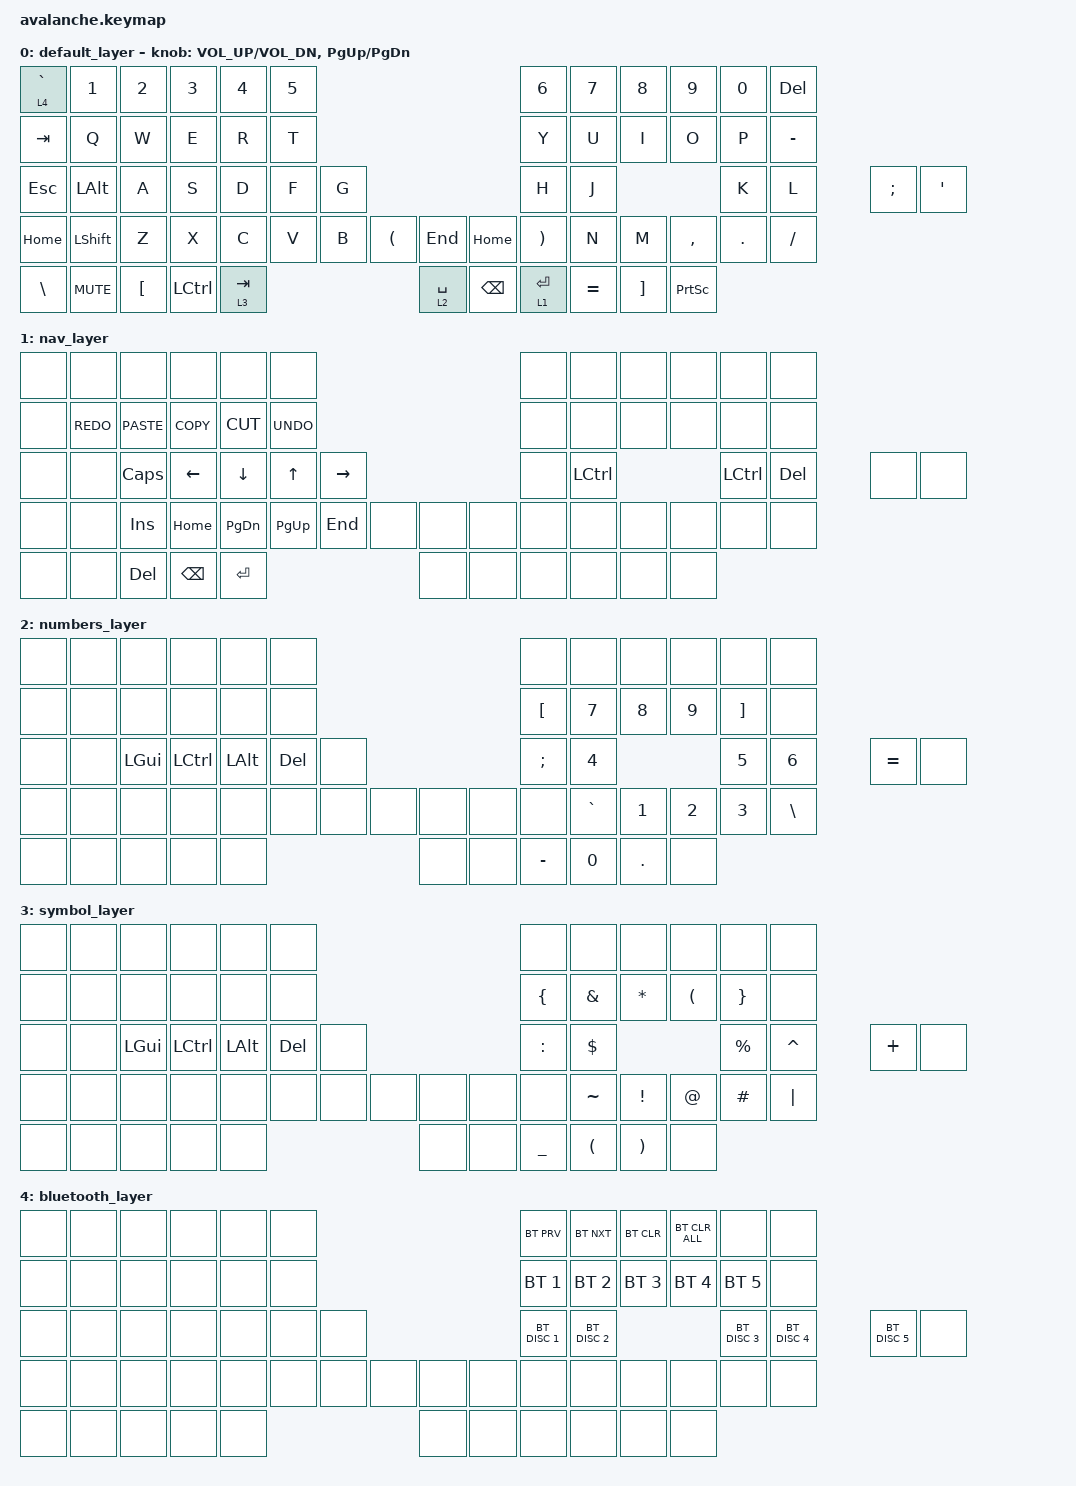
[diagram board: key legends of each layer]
#include <behaviors.dtsi>
#include <dt-bindings/zmk/keys.h>
#include <dt-bindings/zmk/bt.h>

/ {
    behaviors {
        tdlayer: tdlayer {
            compatible = "zmk,behavior-hold-tap";
            #binding-cells = <2>;
            label = "tdlayer";
            flavor = "tap-preferred";
            bindings = <&mo>, <&kp>;
            tapping-term-ms = <250>;
            quick-tap-ms = <100>;
        };
    };

    keymap {
        compatible = "zmk,keymap";

        /*
        &none  &none  &none  &none  &none  &none                                   &none  &none  &none  &none  &none  &none 
// ------------------------------------------------------------------------------------------------------------------------------------------------------------------------------------
        &none  &none  &none  &none  &none  &none                                   &none  &none  &none  &none  &none  &none 
// ------------------------------------------------------------------------------------------------------------------------------------------------------------------------------------
&none  &none  &none  &none  &none  &none  &none                                   &none  &none  &none  &none  &none  &none  &none 
// ------------------------------------------------------------------------------------------------------------------------------------------------------------------------------------
        &none  &none  &none  &none  &none  &none  &none  &none    &none &none  &none  &none  &none  &none  &none  &none 
// ------------------------------------------------------------------------------------------------------------------------------------------------------------------------------------
                                &none  &none  &none  &none  &none    &none &none  &none  &none  &none
*/

        default_layer {
            bindings = <
         &tdlayer 4 GRAVE &kp N1  &kp N2  &kp N3  &kp N4  &kp N5                                                                       &kp N6  &kp N7  &kp N8  &kp N9  &kp N0  &kp DELETE  
         &kp TAB  &kp Q  &kp W  &kp E  &kp R  &kp T  &kp Y                                                                       &kp U  &kp I  &kp O  &kp P  &kp MINUS 
&kp ESC  &kp LEFT_ALT  &kp A  &kp S  &kp D  &kp F &kp G                                                                          &kp H  &kp J  &kp K  &kp L  &kp SEMI  &kp SQT  &kp HOME  
         &kp LSHIFT  &kp Z  &kp X  &kp C  &kp V  &kp B  &kp LEFT_PARENTHESIS  &kp END                         &kp HOME  &kp RIGHT_PARENTHESIS  &kp N  &kp M  &kp COMMA  &kp DOT  &kp FSLH  &kp BSLH  
                                   &kp C_MUTE &kp LEFT_BRACKET &kp LEFT_CONTROL  &tdlayer 3 TAB  &tdlayer 2 SPACE    &kp BACKSPACE &tdlayer 1 RET &kp EQUAL &kp RIGHT_BRACKET  &kp PRINTSCREEN
            >;

            sensor-bindings = <&inc_dec_kp C_VOL_UP C_VOL_DN &inc_dec_kp PG_UP PG_DN>;
        };

        nav_layer {
            bindings = <
&none  &none  &none  &none  &none  &none                                                            &none  &none  &none  &none  &none  &none  
&none  &kp K_REDO  &kp K_PASTE  &kp K_COPY  &kp K_CUT  &kp K_UNDO                                   &none  &none  &none  &none  &none  &none  
&none  &none  &kp CAPSLOCK  &kp LEFT  &kp DOWN  &kp UP  &kp RIGHT                                   &none  &kp LEFT_CONTROL  &kp LCTRL  &kp DELETE  &none  &none  
&none  &none  &kp INSERT  &kp HOME  &kp PAGE_DOWN  &kp PAGE_UP  &kp END  &none        &none  &none  &none  &none  &none  &none  &none  &none  
&none  &none  &kp DELETE  &kp BACKSPACE  &kp ENTER                                    &none  &none  &none  &none  &none  &none
            >;
        };

        numbers_layer {
            bindings = <
       &none  &none  &none  &none  &none  &none                                                 &none  &none  &none  &none  &none  &none  
       &none  &none  &none  &none  &none  &none                                                 &kp LBKT  &kp N7  &kp N8  &kp N9  &kp RBKT  &none  
&none  &none  &kp LEFT_GUI  &kp LEFT_CONTROL  &kp LEFT_ALT  &kp DELETE  &none                   &kp SEMI  &kp N4  &kp N5  &kp N6  &kp EQUAL  &none  &none  
       &none  &none  &none  &none  &none  &none  &none  &none                     &none  &none  &kp GRAVE  &kp N1  &kp N2  &kp N3  &kp BSLH  &none  
                            &none  &none  &none  &none  &none                     &none  &kp MINUS  &kp N0  &kp DOT  &none
            >;
        };

        symbol_layer {
            bindings = <
&none  &none  &none  &none  &none  &none                                             &none  &none  &none  &none  &none  &none  
&none  &none  &none  &none  &none  &none                                             &kp LEFT_BRACE  &kp AMPERSAND  &kp ASTERISK  &kp LEFT_PARENTHESIS  &kp RIGHT_BRACE  
&none  &none  &none  &kp LGUI  &kp LCTRL  &kp LALT  &kp DELETE                       &none  &kp COLON  &kp DOLLAR  &kp PERCENT  &kp CARET  &kp PLUS  &none  
&none  &none  &none  &none  &none  &none  &none  &none                 &none  &none  &none  &kp TILDE  &kp EXCLAMATION  &kp AT_SIGN  &kp HASH  &kp PIPE  
                     &none  &none  &none  &none  &none                 &none  &none  &kp UNDERSCORE  &kp LEFT_PARENTHESIS  &kp RIGHT_PARENTHESIS  &none
            >;
        };

        bluetooth_layer {
                bindings = <
        &none  &none  &none  &none  &none  &none                                   &bt BT_PRV  &bt BT_NXT  &bt BT_CLR  &bt BT_CLR_ALL  &none  &none 
        &none  &none  &none  &none  &none  &none                                   &bt BT_SEL 1  &bt BT_SEL 2  &bt BT_SEL 3  &bt BT_SEL 4  &bt BT_SEL 5  &none 
&none  &none  &none  &none  &none  &none  &none                                   &bt BT_DISC 1  &bt BT_DISC 2  &bt BT_DISC 3  &bt BT_DISC 4  &bt BT_DISC 5  &none  &none 
        &none  &none  &none  &none  &none  &none  &none  &none       &none &none  &none  &none  &none  &none  &none  &none 
                                &none  &none  &none  &none  &none    &none &none  &none  &none  &none
                >;
        };
    };
};
